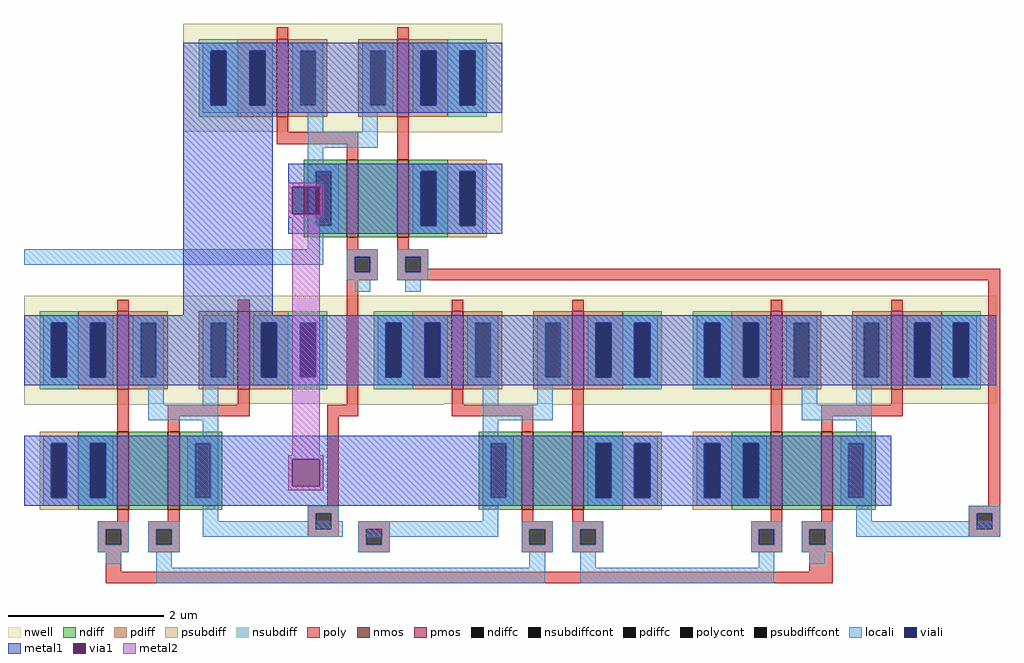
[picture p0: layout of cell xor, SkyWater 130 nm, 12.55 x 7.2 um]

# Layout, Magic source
magic
tech sky130A
<< nwell >>
rect -85 300 45 325
rect -90 210 45 300
rect -85 185 45 210
<< poly >>
rect 25 345 760 360
rect -80 185 -65 345
rect -105 170 -65 185
rect -105 55 -90 170
rect 745 55 760 345
rect -130 45 -90 55
rect -130 25 -120 45
rect -100 25 -90 45
rect 720 45 760 55
rect -130 15 -90 25
rect -65 25 -25 35
rect -65 5 -55 25
rect -35 5 -25 25
rect 720 25 730 45
rect 750 25 760 45
rect 720 15 760 25
rect -65 -5 -25 5
rect -390 -30 -370 -5
rect 515 -30 545 -5
rect -390 -45 545 -30
<< polycont >>
rect -120 25 -100 45
rect -55 5 -35 25
rect 730 25 750 45
<< locali >>
rect -495 365 -290 385
rect -130 45 -90 55
rect -130 25 -120 45
rect -100 25 -90 45
rect 720 45 760 55
rect -130 15 -90 25
rect -65 25 -25 35
rect -65 5 -55 25
rect -35 5 -25 25
rect 720 25 730 45
rect 750 25 760 45
rect 720 15 760 25
rect -65 -5 -25 5
rect -325 -25 -305 -20
rect 155 -25 175 -20
rect -325 -45 175 -25
rect 220 -25 240 5
rect 450 -25 470 5
rect 220 -45 470 -25
<< metal1 >>
rect -290 300 -175 560
rect -90 210 -60 300
rect -495 55 -485 145
rect -220 115 70 145
rect -220 80 -150 115
rect -115 80 70 115
rect -220 55 70 80
<< via1 >>
rect -150 430 -115 465
rect -150 80 -115 115
<< metal2 >>
rect -155 465 -110 470
rect -155 430 -150 465
rect -115 430 -110 465
rect -155 425 -110 430
rect -150 120 -115 425
rect -155 115 -110 120
rect -155 80 -150 115
rect -115 80 -110 115
rect -155 75 -110 80
use nandgate  nandgate_1
transform 1 0 370 0 1 -20
box -25 15 385 345
use nandgate  nandgate_3
transform -1 0 95 0 1 330
box -25 15 385 345
use nandgate  nandgate_0
transform -1 0 320 0 1 -20
box -25 15 385 345
use nandgate  nandgate_2
transform 1 0 -470 0 1 -20
box -25 15 385 345
<< end >>

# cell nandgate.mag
magic
tech sky130A
<< nwell >>
rect -25 206 385 345
rect -25 205 136 206
<< nmos >>
rect 95 70 110 170
rect 160 70 175 170
<< pmos >>
rect 95 225 110 325
rect 250 225 265 325
<< ndiff >>
rect 45 155 95 170
rect 45 85 60 155
rect 80 85 95 155
rect 45 70 95 85
rect 110 70 160 170
rect 175 155 230 170
rect 175 85 195 155
rect 215 85 230 155
rect 175 70 230 85
<< pdiff >>
rect 45 310 95 325
rect 45 240 60 310
rect 80 240 95 310
rect 45 225 95 240
rect 110 310 160 325
rect 110 240 125 310
rect 145 240 160 310
rect 110 225 160 240
rect 200 310 250 325
rect 200 240 215 310
rect 235 240 250 310
rect 200 225 250 240
rect 265 310 315 325
rect 265 240 280 310
rect 300 240 315 310
rect 265 225 315 240
<< ndiffc >>
rect 60 85 80 155
rect 195 85 215 155
<< pdiffc >>
rect 60 240 80 310
rect 125 240 145 310
rect 215 240 235 310
rect 280 240 300 310
<< psubdiff >>
rect -5 155 45 170
rect -5 85 10 155
rect 30 85 45 155
rect -5 70 45 85
<< nsubdiff >>
rect -5 310 45 325
rect -5 240 10 310
rect 30 240 45 310
rect -5 225 45 240
rect 315 310 365 325
rect 315 240 330 310
rect 350 240 365 310
rect 315 225 365 240
<< psubdiffcont >>
rect 10 85 30 155
<< nsubdiffcont >>
rect 10 240 30 310
rect 330 240 350 310
<< poly >>
rect 95 325 110 340
rect 250 325 265 340
rect 95 170 110 225
rect 250 205 265 225
rect 160 190 265 205
rect 160 170 175 190
rect 95 55 110 70
rect 160 55 175 70
rect 70 45 110 55
rect 70 25 80 45
rect 100 25 110 45
rect 70 15 110 25
rect 135 45 175 55
rect 135 25 145 45
rect 165 25 175 45
rect 135 15 175 25
<< polycont >>
rect 80 25 100 45
rect 145 25 165 45
<< locali >>
rect 0 310 90 320
rect 0 240 10 310
rect 30 240 60 310
rect 80 240 90 310
rect 0 230 90 240
rect 115 310 155 320
rect 115 240 125 310
rect 145 240 155 310
rect 115 230 155 240
rect 135 205 155 230
rect 205 310 245 320
rect 205 240 215 310
rect 235 240 245 310
rect 205 230 245 240
rect 270 310 360 320
rect 270 240 280 310
rect 300 240 330 310
rect 350 240 360 310
rect 270 230 360 240
rect 205 205 225 230
rect 135 185 225 205
rect 205 165 225 185
rect 0 155 90 165
rect 0 85 10 155
rect 30 85 60 155
rect 80 85 90 155
rect 0 75 90 85
rect 185 155 225 165
rect 185 85 195 155
rect 215 85 225 155
rect 185 75 225 85
rect 205 55 225 75
rect 70 45 110 55
rect 70 25 80 45
rect 100 25 110 45
rect 70 15 110 25
rect 135 45 175 55
rect 135 25 145 45
rect 165 25 175 45
rect 205 35 385 55
rect 135 15 175 25
rect 80 0 100 15
rect 145 0 165 15
<< viali >>
rect 10 240 30 310
rect 60 240 80 310
rect 280 240 300 310
rect 330 240 350 310
rect 10 85 30 155
rect 60 85 80 155
<< metal1 >>
rect -25 310 385 320
rect -25 240 10 310
rect 30 240 60 310
rect 80 240 280 310
rect 300 240 330 310
rect 350 240 385 310
rect -25 230 385 240
rect -25 155 250 165
rect -25 85 10 155
rect 30 85 60 155
rect 80 85 250 155
rect -25 75 250 85
<< labels >>
rlabel locali 90 0 90 0 5 A
port 1 s
rlabel locali 155 0 155 0 5 B
port 2 s
rlabel metal1 -25 120 -25 120 7 VN
port 4 w
rlabel metal1 -25 275 -25 275 7 VP
port 5 w
rlabel locali 385 45 385 45 3 Z
port 3 e
<< end >>
